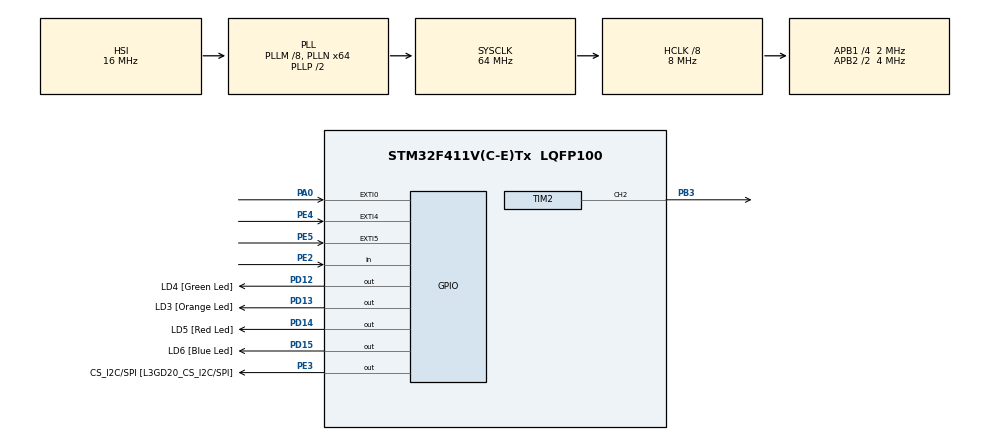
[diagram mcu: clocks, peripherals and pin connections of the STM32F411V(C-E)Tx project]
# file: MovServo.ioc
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Mcu.Family=STM32F4
Mcu.Name=STM32F411V(C-E)Tx
Mcu.Package=LQFP100
NVIC.EXTI0_IRQn=true\:0\:0\:false\:false\:true\:true\:true\:true
NVIC.PriorityGroup=NVIC_PRIORITYGROUP_0
NVIC.TIM2_IRQn=true\:0\:0\:false\:false\:true\:true\:true\:true
PA0-WKUP.Signal=GPXTI0
PB3.Signal=S_TIM2_CH2
PC14-OSC32_IN.Mode=LSE-External-Oscillator
PC14-OSC32_IN.Signal=RCC_OSC32_IN
PC15-OSC32_OUT.Mode=LSE-External-Oscillator
PC15-OSC32_OUT.Signal=RCC_OSC32_OUT
PD12.GPIO_Label=LD4 [Green Led]
PD12.GPIO_PuPd=GPIO_NOPULL
PD12.GPIO_Speed=GPIO_SPEED_FREQ_LOW
PD12.Signal=GPIO_Output
PD13.GPIO_Label=LD3 [Orange Led]
PD13.GPIO_PuPd=GPIO_NOPULL
PD13.GPIO_Speed=GPIO_SPEED_FREQ_LOW
PD13.Signal=GPIO_Output
PD14.GPIO_Label=LD5 [Red Led]
PD14.GPIO_PuPd=GPIO_NOPULL
PD14.GPIO_Speed=GPIO_SPEED_FREQ_LOW
PD14.Signal=GPIO_Output
PD15.GPIO_Label=LD6 [Blue Led]
PD15.GPIO_PuPd=GPIO_NOPULL
PD15.GPIO_Speed=GPIO_SPEED_FREQ_LOW
PD15.Signal=GPIO_Output
PE2.Signal=GPIO_Input
PE3.GPIO_Label=CS_I2C/SPI [L3GD20_CS_I2C/SPI]
PE3.Signal=GPIO_Output
PE4.GPIO_ModeDefaultEXTI=GPIO_MODE_EVT_RISING
PE4.Signal=GPXTI4
PE5.GPIO_ModeDefaultEXTI=GPIO_MODE_EVT_RISING
PE5.Signal=GPXTI5
PH0\ -\ OSC_IN.Mode=HSE-External-Oscillator
PH0\ -\ OSC_IN.Signal=RCC_OSC_IN
PH1\ -\ OSC_OUT.Mode=HSE-External-Oscillator
PH1\ -\ OSC_OUT.Signal=RCC_OSC_OUT
ProjectManager.HeapSize=0x200
ProjectManager.StackSize=0x400
ProjectManager.TargetToolchain=STM32CubeIDE
RCC.48MHZClocksFreq_Value=16000000
RCC.AHBCLKDivider=RCC_SYSCLK_DIV8
RCC.AHBFreq_Value=8000000
RCC.APB1CLKDivider=RCC_HCLK_DIV4
RCC.APB1Freq_Value=2000000
RCC.APB1TimFreq_Value=4000000
RCC.APB2CLKDivider=RCC_HCLK_DIV2
RCC.APB2Freq_Value=4000000
RCC.APB2TimFreq_Value=8000000
RCC.CortexFreq_Value=8000000
RCC.HCLKFreq_Value=8000000
RCC.HSE_VALUE=8000000
RCC.HSI_VALUE=16000000
RCC.PLLI2SM=5
RCC.PLLI2SN=200
RCC.PLLM=8
RCC.PLLN=64
RCC.PLLQ=8
RCC.SYSCLKFreq_VALUE=64000000
RCC.SYSCLKSource=RCC_SYSCLKSOURCE_PLLCLK
RCC.VCOOutputFreq_Value=128000000
SH.S_TIM2_CH2.0=TIM2_CH2,PWM Generation2 CH2
TIM2.Channel-PWM\ Generation2\ CH2=TIM_CHANNEL_2
TIM2.Period=2499
TIM2.Prescaler=64
VP_TIM2_VS_ClockSourceINT.Mode=Internal
board=STM32F411E-DISCO

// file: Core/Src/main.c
/* USER CODE BEGIN Header */
/**
  ******************************************************************************
  * @file           : main.c
  * @brief          : Main program body
  ******************************************************************************
  * @attention
  *
  * Copyright (c) 2024 STMicroelectronics.
  * All rights reserved.
  *
  * This software is licensed under terms that can be found in the LICENSE file
  * in the root directory of this software component.
  * If no LICENSE file comes with this software, it is provided AS-IS.
  *
  ******************************************************************************
  */
/* USER CODE END Header */
#include "main.h"

TIM_HandleTypeDef htim2;

void SystemClock_Config(void);
static void MX_GPIO_Init(void);
static void MX_TIM2_Init(void);
void movservo(uint8_t sentido);

/* USER CODE BEGIN 0 */
void movservo (uint8_t sentido){

	const uint16_t max= 300; //300 equivale a 90º en nuestro servo
	const uint16_t min=65;   // 65 equivale a -90º en nuestro servo.

	if(sentido==1){
		while (TIM2->CCR2 < max){  //300 equivale a 90º
			HAL_Delay(50);
			TIM2->CCR2 +=1;
		}
	}else{
		while (TIM2->CCR2 > min){   //65 equivale a -90º
			HAL_Delay(50);
			TIM2->CCR2 -=1;
		}
	}

}
/* USER CODE END 0 */

int main(void)
{

  /* MCU Configuration--------------------------------------------------------*/

  /* Reset of all peripherals, Initializes the Flash interface and the Systick. */
  HAL_Init();

  /* Configure the system clock */
  SystemClock_Config();

  /* Initialize all configured peripherals */
  MX_GPIO_Init();
  MX_TIM2_Init();
  /* USER CODE BEGIN 2 */

  HAL_TIM_PWM_Start(&htim2, TIM_CHANNEL_2);   //Inicilaizo PWM
  TIM2->CCR2 = 65;  //Inicializo el registro del tim al valor minimo 65=-90º
  /* USER CODE END 2 */

  /* Infinite loop */
  /* USER CODE BEGIN WHILE */
  uint8_t pulsacion=0;

  while (1)
  {
    /* USER CODE END WHILE */

    /* USER CODE BEGIN 3 */
	  if(HAL_GPIO_ReadPin(GPIOA, GPIO_PIN_0)== GPIO_PIN_SET){
		  if(pulsacion){
			  pulsacion=0;
			  HAL_Delay(50);
			  movservo(pulsacion);
		  }else{
			  pulsacion=1;
			  HAL_Delay(50);
			  movservo(pulsacion);
		  }
	  }

  }
  /* USER CODE END 3 */

void SystemClock_Config(void)
{
  RCC_OscInitTypeDef RCC_OscInitStruct = {0};
  RCC_ClkInitTypeDef RCC_ClkInitStruct = {0};

  /** Configure the main internal regulator output voltage
  */
  __HAL_RCC_PWR_CLK_ENABLE();
  __HAL_PWR_VOLTAGESCALING_CONFIG(PWR_REGULATOR_VOLTAGE_SCALE1);

  /** Initializes the RCC Oscillators according to the specified parameters
  * in the RCC_OscInitTypeDef structure.
  */
  RCC_OscInitStruct.OscillatorType = RCC_OSCILLATORTYPE_HSI;
  RCC_OscInitStruct.HSIState = RCC_HSI_ON;
  RCC_OscInitStruct.HSICalibrationValue = RCC_HSICALIBRATION_DEFAULT;
  RCC_OscInitStruct.PLL.PLLState = RCC_PLL_ON;
  RCC_OscInitStruct.PLL.PLLSource = RCC_PLLSOURCE_HSI;
  RCC_OscInitStruct.PLL.PLLM = 8;
  RCC_OscInitStruct.PLL.PLLN = 64;
  RCC_OscInitStruct.PLL.PLLP = RCC_PLLP_DIV2;
  RCC_OscInitStruct.PLL.PLLQ = 8;
  if (HAL_RCC_OscConfig(&RCC_OscInitStruct) != HAL_OK)
  {
    Error_Handler();
  }

  /** Initializes the CPU, AHB and APB buses clocks
  */
  RCC_ClkInitStruct.ClockType = RCC_CLOCKTYPE_HCLK|RCC_CLOCKTYPE_SYSCLK
                              |RCC_CLOCKTYPE_PCLK1|RCC_CLOCKTYPE_PCLK2;
  RCC_ClkInitStruct.SYSCLKSource = RCC_SYSCLKSOURCE_PLLCLK;
  RCC_ClkInitStruct.AHBCLKDivider = RCC_SYSCLK_DIV8;
  RCC_ClkInitStruct.APB1CLKDivider = RCC_HCLK_DIV4;
  RCC_ClkInitStruct.APB2CLKDivider = RCC_HCLK_DIV2;

  if (HAL_RCC_ClockConfig(&RCC_ClkInitStruct, FLASH_LATENCY_0) != HAL_OK)
  {
    Error_Handler();
  }
}

static void MX_TIM2_Init(void)
{

  TIM_ClockConfigTypeDef sClockSourceConfig = {0};
  TIM_MasterConfigTypeDef sMasterConfig = {0};
  TIM_OC_InitTypeDef sConfigOC = {0};

  htim2.Instance = TIM2;
  htim2.Init.Prescaler = 64;
  htim2.Init.CounterMode = TIM_COUNTERMODE_UP;
  htim2.Init.Period = 2499;
  htim2.Init.ClockDivision = TIM_CLOCKDIVISION_DIV1;
  htim2.Init.AutoReloadPreload = TIM_AUTORELOAD_PRELOAD_DISABLE;
  if (HAL_TIM_Base_Init(&htim2) != HAL_OK)
  {
    Error_Handler();
  }
  sClockSourceConfig.ClockSource = TIM_CLOCKSOURCE_INTERNAL;
  if (HAL_TIM_ConfigClockSource(&htim2, &sClockSourceConfig) != HAL_OK)
  {
    Error_Handler();
  }
  if (HAL_TIM_PWM_Init(&htim2) != HAL_OK)
  {
    Error_Handler();
  }
  sMasterConfig.MasterOutputTrigger = TIM_TRGO_RESET;
  sMasterConfig.MasterSlaveMode = TIM_MASTERSLAVEMODE_DISABLE;
  if (HAL_TIMEx_MasterConfigSynchronization(&htim2, &sMasterConfig) != HAL_OK)
  {
    Error_Handler();
  }
  sConfigOC.OCMode = TIM_OCMODE_PWM1;
  sConfigOC.Pulse = 0;
  sConfigOC.OCPolarity = TIM_OCPOLARITY_HIGH;
  sConfigOC.OCFastMode = TIM_OCFAST_DISABLE;
  if (HAL_TIM_PWM_ConfigChannel(&htim2, &sConfigOC, TIM_CHANNEL_2) != HAL_OK)
  {
    Error_Handler();
  }
  HAL_TIM_MspPostInit(&htim2);

}

static void MX_GPIO_Init(void)
{
  GPIO_InitTypeDef GPIO_InitStruct = {0};

  /* GPIO Ports Clock Enable */
  __HAL_RCC_GPIOE_CLK_ENABLE();
  __HAL_RCC_GPIOC_CLK_ENABLE();
  __HAL_RCC_GPIOH_CLK_ENABLE();
  __HAL_RCC_GPIOA_CLK_ENABLE();
  __HAL_RCC_GPIOD_CLK_ENABLE();
  __HAL_RCC_GPIOB_CLK_ENABLE();

  /*Configure GPIO pin Output Level */
  HAL_GPIO_WritePin(CS_I2C_SPI_GPIO_Port, CS_I2C_SPI_Pin, GPIO_PIN_RESET);

  /*Configure GPIO pin Output Level */
  HAL_GPIO_WritePin(GPIOD, LD4_Pin|LD3_Pin|LD5_Pin|LD6_Pin, GPIO_PIN_RESET);

  /*Configure GPIO pin : PE2 */
  GPIO_InitStruct.Pin = GPIO_PIN_2;
  GPIO_InitStruct.Mode = GPIO_MODE_INPUT;
  GPIO_InitStruct.Pull = GPIO_NOPULL;
  HAL_GPIO_Init(GPIOE, &GPIO_InitStruct);

  /*Configure GPIO pin : CS_I2C_SPI_Pin */
  GPIO_InitStruct.Pin = CS_I2C_SPI_Pin;
  GPIO_InitStruct.Mode = GPIO_MODE_OUTPUT_PP;
  GPIO_InitStruct.Pull = GPIO_NOPULL;
  GPIO_InitStruct.Speed = GPIO_SPEED_FREQ_LOW;
  HAL_GPIO_Init(CS_I2C_SPI_GPIO_Port, &GPIO_InitStruct);

  /*Configure GPIO pins : PE4 PE5 */
  GPIO_InitStruct.Pin = GPIO_PIN_4|GPIO_PIN_5;
  GPIO_InitStruct.Mode = GPIO_MODE_EVT_RISING;
  GPIO_InitStruct.Pull = GPIO_NOPULL;
  HAL_GPIO_Init(GPIOE, &GPIO_InitStruct);

  /*Configure GPIO pin : PA0 */
  GPIO_InitStruct.Pin = GPIO_PIN_0;
  GPIO_InitStruct.Mode = GPIO_MODE_IT_RISING;
  GPIO_InitStruct.Pull = GPIO_NOPULL;
  HAL_GPIO_Init(GPIOA, &GPIO_InitStruct);

  /*Configure GPIO pins : LD4_Pin LD3_Pin LD5_Pin LD6_Pin */
  GPIO_InitStruct.Pin = LD4_Pin|LD3_Pin|LD5_Pin|LD6_Pin;
  GPIO_InitStruct.Mode = GPIO_MODE_OUTPUT_PP;
  GPIO_InitStruct.Pull = GPIO_NOPULL;
  GPIO_InitStruct.Speed = GPIO_SPEED_FREQ_LOW;
  HAL_GPIO_Init(GPIOD, &GPIO_InitStruct);

  /* EXTI interrupt init*/
  HAL_NVIC_SetPriority(EXTI0_IRQn, 0, 0);
  HAL_NVIC_EnableIRQ(EXTI0_IRQn);

}

void Error_Handler(void)
{
  __disable_irq();
  while (1)
  {
  }
}
